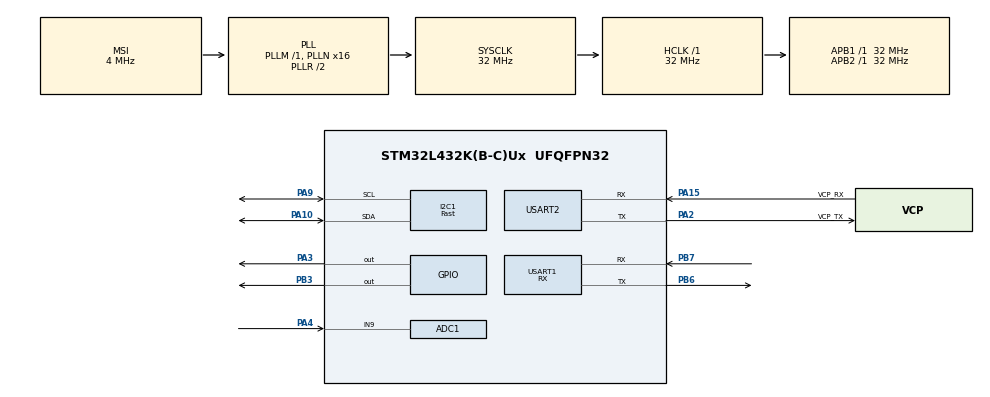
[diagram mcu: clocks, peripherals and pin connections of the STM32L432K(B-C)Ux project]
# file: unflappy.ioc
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ADC1.Channel-0\#ChannelRegularConversion=ADC_CHANNEL_9
ADC1.ContinuousConvMode=DISABLE
ADC1.NbrOfConversionFlag=1
ADC1.OffsetNumber-0\#ChannelRegularConversion=ADC_OFFSET_NONE
ADC1.Rank-0\#ChannelRegularConversion=1
ADC1.SamplingTime-0\#ChannelRegularConversion=ADC_SAMPLETIME_2CYCLES_5
ADC1.master=1
Dma.Request0=USART1_RX
Dma.USART1_RX.0.Direction=DMA_PERIPH_TO_MEMORY
Dma.USART1_RX.0.Instance=DMA1_Channel5
Dma.USART1_RX.0.MemDataAlignment=DMA_MDATAALIGN_BYTE
Dma.USART1_RX.0.MemInc=DMA_MINC_ENABLE
Dma.USART1_RX.0.Mode=DMA_CIRCULAR
Dma.USART1_RX.0.PeriphDataAlignment=DMA_PDATAALIGN_BYTE
Dma.USART1_RX.0.PeriphInc=DMA_PINC_DISABLE
Dma.USART1_RX.0.Priority=DMA_PRIORITY_LOW
I2C1.I2C_Speed_Mode=I2C_Fast
I2C1.Timing=0x0060112F
Mcu.Family=STM32L4
Mcu.Name=STM32L432K(B-C)Ux
Mcu.Package=UFQFPN32
NVIC.DMA1_Channel5_IRQn=true\:0\:0\:false\:false\:true\:false\:true\:true
NVIC.PVD_PVM_IRQn=true\:0\:0\:false\:false\:true\:true\:true\:true
NVIC.PriorityGroup=NVIC_PRIORITYGROUP_4
NVIC.USART1_IRQn=true\:0\:0\:false\:false\:true\:true\:true\:true
PA0.GPIO_Label=MCO [High speed clock in]
PA0.Mode=HSE-External-Clock-Source-for-LittleOrca
PA0.Signal=RCC_CK_IN
PA10.Mode=I2C
PA10.Signal=I2C1_SDA
PA13\ (JTMS-SWDIO).GPIO_Label=SWDIO
PA13\ (JTMS-SWDIO).Mode=Serial_Wire
PA13\ (JTMS-SWDIO).Signal=SYS_JTMS-SWDIO
PA14\ (JTCK-SWCLK).GPIO_Label=SWCLK
PA14\ (JTCK-SWCLK).Mode=Serial_Wire
PA14\ (JTCK-SWCLK).Signal=SYS_JTCK-SWCLK
PA15\ (JTDI).GPIO_Label=VCP_RX
PA15\ (JTDI).Mode=Asynchronous
PA15\ (JTDI).Signal=USART2_RX
PA2.GPIO_Label=VCP_TX
PA2.Mode=Asynchronous
PA2.Signal=USART2_TX
PA3.GPIO_PuPd=GPIO_PULLUP
PA3.Signal=GPIO_Output
PA4.Signal=ADCx_IN9
PA9.Mode=I2C
PA9.Signal=I2C1_SCL
PB3\ (JTDO-TRACESWO).Signal=GPIO_Output
PB6.Mode=Asynchronous
PB6.Signal=USART1_TX
PB7.Mode=Asynchronous
PB7.Signal=USART1_RX
PC14-OSC32_IN\ (PC14).Mode=LSE-External-Oscillator
PC14-OSC32_IN\ (PC14).Signal=RCC_OSC32_IN
PC15-OSC32_OUT\ (PC15).Mode=LSE-External-Oscillator
PC15-OSC32_OUT\ (PC15).Signal=RCC_OSC32_OUT
ProjectManager.HeapSize=0x200
ProjectManager.StackSize=0x400
ProjectManager.TargetToolchain=CMake
RCC.ADCFreq_Value=32000000
RCC.AHBFreq_Value=32000000
RCC.APB1Freq_Value=32000000
RCC.APB1TimFreq_Value=32000000
RCC.APB2Freq_Value=32000000
RCC.APB2TimFreq_Value=32000000
RCC.CortexFreq_Value=32000000
RCC.HCLKFreq_Value=32000000
RCC.HSE_VALUE=8000000
RCC.HSI16_VALUE=16000000
RCC.HSI48_VALUE=48000000
RCC.HSI_VALUE=16000000
RCC.MSI_VALUE=4000000
RCC.PLLMUL=RCC_PLLMUL_4
RCC.PLLN=16
RCC.PLLSAI1N=16
RCC.SYSCLKFreq_VALUE=32000000
RCC.SYSCLKSource=RCC_SYSCLKSOURCE_PLLCLK
RCC.USBFreq_Value=32000000
RCC.VCOOutputFreq_Value=64000000
SH.ADCx_IN9.0=ADC1_IN9,IN9-Single-Ended
TIM1.Period=32-1
USART1.Mode=MODE_RX
USART1.VirtualMode-Asynchronous=VM_ASYNC
USART2.VirtualMode-Asynchronous=VM_ASYNC
VP_TIM1_VS_ClockSourceINT.Mode=Internal
board=NUCLEO-L432KC

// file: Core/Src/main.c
/* USER CODE BEGIN Header */
/**
  ******************************************************************************
  * @file           : main.c
  * @brief          : Main program body
  ******************************************************************************
  * @attention
  *
  * Copyright (c) 2026 STMicroelectronics.
  * All rights reserved.
  *
  * This software is licensed under terms that can be found in the LICENSE file
  * in the root directory of this software component.
  * If no LICENSE file comes with this software, it is provided AS-IS.
  *
  ******************************************************************************
  */
/* USER CODE END Header */
#include "main.h"

/* USER CODE BEGIN Includes */
#include "ssd1306.h"
#include "stm32l4xx.h"
#include "stm32l4xx_hal_adc.h"
#include "stm32l4xx_hal_def.h"
#include "buzzer.h"

#include <gamestart.h>
#include <gameover.h>
#include <gameselect.h>
#include <gameplay.h>

#include <stdint.h>
#include <stdio.h>

/* USER CODE END Includes */

ADC_HandleTypeDef hadc1;

I2C_HandleTypeDef hi2c1;

TIM_HandleTypeDef htim1;

UART_HandleTypeDef huart1;
UART_HandleTypeDef huart2;
DMA_HandleTypeDef hdma_usart1_rx;

/* USER CODE BEGIN PV */
typedef enum {
  GAME_SELECT,
  GAME_MAIN_MENU,
  GAME_PLAY,
  GAME_OVER
} AppState_t;
static AppState_t app_state = GAME_SELECT;

/* USER CODE END PV */

void SystemClock_Config(void);
static void MX_GPIO_Init(void);
static void MX_DMA_Init(void);
static void MX_I2C1_Init(void);
static void MX_USART2_UART_Init(void);
static void MX_TIM1_Init(void);
static void MX_ADC1_Init(void);
static void MX_USART1_UART_Init(void);

/* USER CODE BEGIN 0 */

int __io_putchar(int ch){
  HAL_UART_Transmit(&huart2, (uint8_t*)&ch ,1, HAL_MAX_DELAY);
  return ch;
}

static uint8_t read_data[2];

/* USER CODE END 0 */

int main(void)
{

  /* MCU Configuration--------------------------------------------------------*/

  /* Reset of all peripherals, Initializes the Flash interface and the Systick. */
  HAL_Init();

  /* Configure the system clock */
  SystemClock_Config();

  /* Initialize all configured peripherals */
  MX_GPIO_Init();
  MX_DMA_Init();
  MX_I2C1_Init();
  MX_USART2_UART_Init();
  MX_TIM1_Init();
  MX_ADC1_Init();
  MX_USART1_UART_Init();
  /* USER CODE BEGIN 2 */
  HAL_TIM_Base_Start(&htim1);
  ssd1306_Init();
  Buzzer_Loader();        // play loader tone sequence
  GameSelect_Init();
  HAL_UART_Receive_DMA(&huart1, read_data, 2);
  /* USER CODE END 2 */

  /* Infinite loop */
  /* USER CODE BEGIN WHILE */
  while (1)
  {
    if (app_state == GAME_SELECT){
      GameSelect_Render();
      while (app_state == GAME_SELECT);
    } else if (app_state == GAME_MAIN_MENU){
      // play theme once when menu is entered
      while (app_state == GAME_MAIN_MENU) {
        Buzzer_PlayTheme();
      }
    }else if (app_state == GAME_PLAY){
      while (app_state == GAME_PLAY){
        HAL_ADC_Start(&hadc1);
        HAL_ADC_PollForConversion(&hadc1, HAL_MAX_DELAY);
        uint32_t ldr = HAL_ADC_GetValue(&hadc1);
        if (GamePlay_Idle(&htim1, &hadc1, ldr)){
          app_state = GAME_OVER;
        }
      }
    }else{ // GAME_OVER
      GameOver_Render();
      while (app_state == GAME_OVER);
    }
  }
    /* USER CODE END WHILE */

}

void SystemClock_Config(void)
{
  RCC_OscInitTypeDef RCC_OscInitStruct = {0};
  RCC_ClkInitTypeDef RCC_ClkInitStruct = {0};

  /** Configure the main internal regulator output voltage
  */
  if (HAL_PWREx_ControlVoltageScaling(PWR_REGULATOR_VOLTAGE_SCALE1) != HAL_OK)
  {
    Error_Handler();
  }

  /** Configure LSE Drive Capability
  */
  HAL_PWR_EnableBkUpAccess();
  __HAL_RCC_LSEDRIVE_CONFIG(RCC_LSEDRIVE_LOW);

  /** Initializes the RCC Oscillators according to the specified parameters
  * in the RCC_OscInitTypeDef structure.
  */
  RCC_OscInitStruct.OscillatorType = RCC_OSCILLATORTYPE_LSE|RCC_OSCILLATORTYPE_MSI;
  RCC_OscInitStruct.LSEState = RCC_LSE_ON;
  RCC_OscInitStruct.MSIState = RCC_MSI_ON;
  RCC_OscInitStruct.MSICalibrationValue = 0;
  RCC_OscInitStruct.MSIClockRange = RCC_MSIRANGE_6;
  RCC_OscInitStruct.PLL.PLLState = RCC_PLL_ON;
  RCC_OscInitStruct.PLL.PLLSource = RCC_PLLSOURCE_MSI;
  RCC_OscInitStruct.PLL.PLLM = 1;
  RCC_OscInitStruct.PLL.PLLN = 16;
  RCC_OscInitStruct.PLL.PLLP = RCC_PLLP_DIV7;
  RCC_OscInitStruct.PLL.PLLQ = RCC_PLLQ_DIV2;
  RCC_OscInitStruct.PLL.PLLR = RCC_PLLR_DIV2;
  if (HAL_RCC_OscConfig(&RCC_OscInitStruct) != HAL_OK)
  {
    Error_Handler();
  }

  /** Initializes the CPU, AHB and APB buses clocks
  */
  RCC_ClkInitStruct.ClockType = RCC_CLOCKTYPE_HCLK|RCC_CLOCKTYPE_SYSCLK
                              |RCC_CLOCKTYPE_PCLK1|RCC_CLOCKTYPE_PCLK2;
  RCC_ClkInitStruct.SYSCLKSource = RCC_SYSCLKSOURCE_PLLCLK;
  RCC_ClkInitStruct.AHBCLKDivider = RCC_SYSCLK_DIV1;
  RCC_ClkInitStruct.APB1CLKDivider = RCC_HCLK_DIV1;
  RCC_ClkInitStruct.APB2CLKDivider = RCC_HCLK_DIV1;

  if (HAL_RCC_ClockConfig(&RCC_ClkInitStruct, FLASH_LATENCY_1) != HAL_OK)
  {
    Error_Handler();
  }

  /** Enable MSI Auto calibration
  */
  HAL_RCCEx_EnableMSIPLLMode();
}

static void MX_ADC1_Init(void)
{

  ADC_ChannelConfTypeDef sConfig = {0};

  /** Common config
  */
  hadc1.Instance = ADC1;
  hadc1.Init.ClockPrescaler = ADC_CLOCK_ASYNC_DIV1;
  hadc1.Init.Resolution = ADC_RESOLUTION_12B;
  hadc1.Init.DataAlign = ADC_DATAALIGN_RIGHT;
  hadc1.Init.ScanConvMode = ADC_SCAN_DISABLE;
  hadc1.Init.EOCSelection = ADC_EOC_SINGLE_CONV;
  hadc1.Init.LowPowerAutoWait = DISABLE;
  hadc1.Init.ContinuousConvMode = DISABLE;
  hadc1.Init.NbrOfConversion = 1;
  hadc1.Init.DiscontinuousConvMode = DISABLE;
  hadc1.Init.ExternalTrigConv = ADC_SOFTWARE_START;
  hadc1.Init.ExternalTrigConvEdge = ADC_EXTERNALTRIGCONVEDGE_NONE;
  hadc1.Init.DMAContinuousRequests = DISABLE;
  hadc1.Init.Overrun = ADC_OVR_DATA_PRESERVED;
  hadc1.Init.OversamplingMode = DISABLE;
  if (HAL_ADC_Init(&hadc1) != HAL_OK)
  {
    Error_Handler();
  }

  /** Configure Regular Channel
  */
  sConfig.Channel = ADC_CHANNEL_9;
  sConfig.Rank = ADC_REGULAR_RANK_1;
  sConfig.SamplingTime = ADC_SAMPLETIME_2CYCLES_5;
  sConfig.SingleDiff = ADC_SINGLE_ENDED;
  sConfig.OffsetNumber = ADC_OFFSET_NONE;
  sConfig.Offset = 0;
  if (HAL_ADC_ConfigChannel(&hadc1, &sConfig) != HAL_OK)
  {
    Error_Handler();
  }

}

static void MX_I2C1_Init(void)
{

  hi2c1.Instance = I2C1;
  hi2c1.Init.Timing = 0x0060112F;
  hi2c1.Init.OwnAddress1 = 0;
  hi2c1.Init.AddressingMode = I2C_ADDRESSINGMODE_7BIT;
  hi2c1.Init.DualAddressMode = I2C_DUALADDRESS_DISABLE;
  hi2c1.Init.OwnAddress2 = 0;
  hi2c1.Init.OwnAddress2Masks = I2C_OA2_NOMASK;
  hi2c1.Init.GeneralCallMode = I2C_GENERALCALL_DISABLE;
  hi2c1.Init.NoStretchMode = I2C_NOSTRETCH_DISABLE;
  if (HAL_I2C_Init(&hi2c1) != HAL_OK)
  {
    Error_Handler();
  }

  /** Configure Analogue filter
  */
  if (HAL_I2CEx_ConfigAnalogFilter(&hi2c1, I2C_ANALOGFILTER_ENABLE) != HAL_OK)
  {
    Error_Handler();
  }

  /** Configure Digital filter
  */
  if (HAL_I2CEx_ConfigDigitalFilter(&hi2c1, 0) != HAL_OK)
  {
    Error_Handler();
  }

}

static void MX_TIM1_Init(void)
{

  TIM_ClockConfigTypeDef sClockSourceConfig = {0};
  TIM_MasterConfigTypeDef sMasterConfig = {0};

  htim1.Instance = TIM1;
  htim1.Init.Prescaler = 0;
  htim1.Init.CounterMode = TIM_COUNTERMODE_UP;
  htim1.Init.Period = 32-1;
  htim1.Init.ClockDivision = TIM_CLOCKDIVISION_DIV1;
  htim1.Init.RepetitionCounter = 0;
  htim1.Init.AutoReloadPreload = TIM_AUTORELOAD_PRELOAD_DISABLE;
  if (HAL_TIM_Base_Init(&htim1) != HAL_OK)
  {
    Error_Handler();
  }
  sClockSourceConfig.ClockSource = TIM_CLOCKSOURCE_INTERNAL;
  if (HAL_TIM_ConfigClockSource(&htim1, &sClockSourceConfig) != HAL_OK)
  {
    Error_Handler();
  }
  sMasterConfig.MasterOutputTrigger = TIM_TRGO_RESET;
  sMasterConfig.MasterOutputTrigger2 = TIM_TRGO2_RESET;
  sMasterConfig.MasterSlaveMode = TIM_MASTERSLAVEMODE_DISABLE;
  if (HAL_TIMEx_MasterConfigSynchronization(&htim1, &sMasterConfig) != HAL_OK)
  {
    Error_Handler();
  }

}

static void MX_USART1_UART_Init(void)
{

  huart1.Instance = USART1;
  huart1.Init.BaudRate = 115200;
  huart1.Init.WordLength = UART_WORDLENGTH_8B;
  huart1.Init.StopBits = UART_STOPBITS_1;
  huart1.Init.Parity = UART_PARITY_NONE;
  huart1.Init.Mode = UART_MODE_RX;
  huart1.Init.HwFlowCtl = UART_HWCONTROL_NONE;
  huart1.Init.OverSampling = UART_OVERSAMPLING_16;
  huart1.Init.OneBitSampling = UART_ONE_BIT_SAMPLE_DISABLE;
  huart1.AdvancedInit.AdvFeatureInit = UART_ADVFEATURE_NO_INIT;
  if (HAL_UART_Init(&huart1) != HAL_OK)
  {
    Error_Handler();
  }

}

static void MX_USART2_UART_Init(void)
{

  huart2.Instance = USART2;
  huart2.Init.BaudRate = 115200;
  huart2.Init.WordLength = UART_WORDLENGTH_8B;
  huart2.Init.StopBits = UART_STOPBITS_1;
  huart2.Init.Parity = UART_PARITY_NONE;
  huart2.Init.Mode = UART_MODE_TX_RX;
  huart2.Init.HwFlowCtl = UART_HWCONTROL_NONE;
  huart2.Init.OverSampling = UART_OVERSAMPLING_16;
  huart2.Init.OneBitSampling = UART_ONE_BIT_SAMPLE_DISABLE;
  huart2.AdvancedInit.AdvFeatureInit = UART_ADVFEATURE_NO_INIT;
  if (HAL_UART_Init(&huart2) != HAL_OK)
  {
    Error_Handler();
  }

}

static void MX_DMA_Init(void)
{

  /* DMA controller clock enable */
  __HAL_RCC_DMA1_CLK_ENABLE();

  /* DMA interrupt init */
  /* DMA1_Channel5_IRQn interrupt configuration */
  HAL_NVIC_SetPriority(DMA1_Channel5_IRQn, 0, 0);
  HAL_NVIC_EnableIRQ(DMA1_Channel5_IRQn);

}

static void MX_GPIO_Init(void)
{
  GPIO_InitTypeDef GPIO_InitStruct = {0};

  /* GPIO Ports Clock Enable */
  __HAL_RCC_GPIOC_CLK_ENABLE();
  __HAL_RCC_GPIOA_CLK_ENABLE();
  __HAL_RCC_GPIOB_CLK_ENABLE();

  /*Configure GPIO pin Output Level */
  HAL_GPIO_WritePin(GPIOA, GPIO_PIN_3, GPIO_PIN_RESET);

  /*Configure GPIO pin Output Level */
  HAL_GPIO_WritePin(GPIOB, GPIO_PIN_3, GPIO_PIN_RESET);

  /*Configure GPIO pin : PA3 */
  GPIO_InitStruct.Pin = GPIO_PIN_3;
  GPIO_InitStruct.Mode = GPIO_MODE_OUTPUT_PP;
  GPIO_InitStruct.Pull = GPIO_PULLUP;
  GPIO_InitStruct.Speed = GPIO_SPEED_FREQ_LOW;
  HAL_GPIO_Init(GPIOA, &GPIO_InitStruct);

  /*Configure GPIO pin : PB3 */
  GPIO_InitStruct.Pin = GPIO_PIN_3;
  GPIO_InitStruct.Mode = GPIO_MODE_OUTPUT_PP;
  GPIO_InitStruct.Pull = GPIO_NOPULL;
  GPIO_InitStruct.Speed = GPIO_SPEED_FREQ_LOW;
  HAL_GPIO_Init(GPIOB, &GPIO_InitStruct);

}

/* USER CODE BEGIN 4 */
void HAL_UART_RxCpltCallback(UART_HandleTypeDef *huart){
  if (huart->Instance == USART1) {
    // user button may interrupt playing menu theme
    Buzzer_Abort();

    uint8_t left_gyrox = read_data[0] & 1 << 1;
    uint8_t right_gyrox = read_data[1] & 1 << 1;

    uint8_t left_gyroy = read_data[0] & 1 << 2;
    uint8_t right_gyroy = read_data[1] & 1 << 2;

    uint8_t left_gyroz = read_data[0] & 1 << 3;
    uint8_t right_gyroz = read_data[1] & 1 << 3;

    uint8_t left_button = read_data[0] & 1 << 4;
    uint8_t right_button = read_data[1] & 1 << 4;

    if (app_state == GAME_SELECT) {
      if (left_button || right_button) {
        GameSelect_NavigateUp();
      } else if (left_gyrox || left_gyroy || left_gyroz || right_gyrox || right_gyroy || right_gyroz) {
        app_state = GAME_MAIN_MENU; // go to game main menu
        GameStart_SetGameTitle();
      }
    } else if (app_state == GAME_MAIN_MENU) {
      if (left_button) {
        app_state = GAME_SELECT; // back to game select
        GameSelect_Init();
      } else if (right_button) {
        app_state = GAME_PLAY;
        GameStart_Start();
      }
    } else if (app_state == GAME_PLAY) {
      if (GameSelect_IsMultiPlayer()) {
        if (left_gyrox || left_gyroy || left_gyroz || left_button) {
          GamePlay_Play2();
        }
        if (right_gyrox || right_gyroy || right_gyroz || right_button) {
          GamePlay_Play();
        }
      }else{
        if ((left_gyrox && right_gyrox) || (left_gyroy && right_gyroy) ||
            (left_gyroz && right_gyroz) || left_button || right_button) {
          GamePlay_Play();
        }
      }
    } else {
      if (left_button || right_button) {
        app_state = GAME_SELECT;
        GamePlay_Reset(&htim1);
      }
    }
  }
}

/* USER CODE END 4 */

void Error_Handler(void)
{
  __disable_irq();
  while (1)
  {
  }
}
